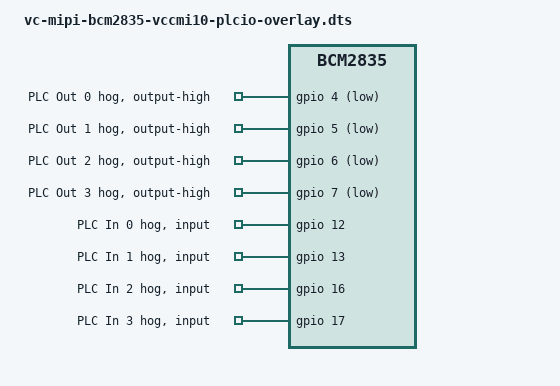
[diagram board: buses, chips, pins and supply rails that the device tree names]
//
// Definitions for the VC CMI v.1.0 board
//
// Copyright (C) 2020 - Martin Engel, Vision Components GmbH
//

/dts-v1/;
/plugin/;


/{
	compatible = "brcm,bcm2835";

	fragment@0 {
		target = <&gpio>;
		__overlay__ {
			
			plcio-out0 {
				gpio-hog;
				output-high;
				gpios = <4 1>;
				line-name = "PLC Out 0";
			};
			plcio-out1 {
				gpio-hog;
				output-high;
				gpios = <5 1>;
				line-name = "PLC Out 1";
			};
			plcio-out2 {
				gpio-hog;
				output-high;
				gpios = <6 1>;
				line-name = "PLC Out 2";
			};
			plcio-out3 {
				gpio-hog;
				output-high;
				gpios = <7 1>;
				line-name = "PLC Out 3";
			};
			plcio-in0 {
				gpio-hog;
				input;
				gpios = <12>;
				line-name = "PLC In 0";
			};
			plcio-in1 {
				gpio-hog;
				input;
				gpios = <13>;
				line-name = "PLC In 1";
			};
			plcio-in2 {
				gpio-hog;
				input;
				gpios = <16>;
				line-name = "PLC In 2";
			};
			plcio-in3 {
				gpio-hog;
				input;
				gpios = <17>;
				line-name = "PLC In 3";
			};
		};
	};
};

